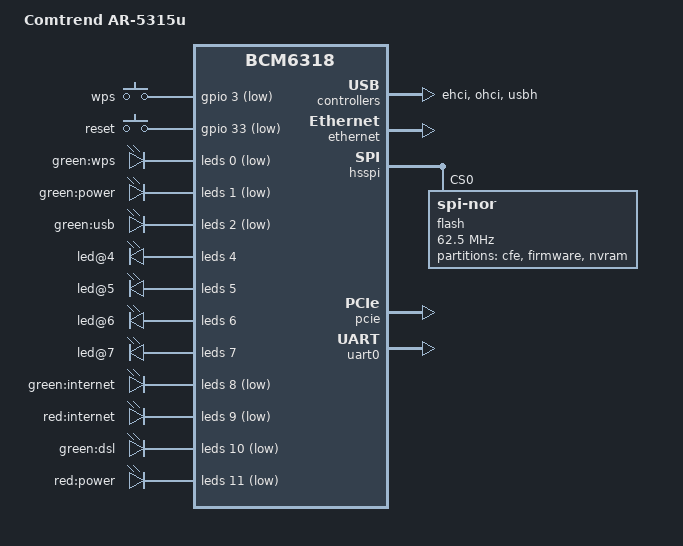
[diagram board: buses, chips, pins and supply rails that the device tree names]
// SPDX-License-Identifier: GPL-2.0-or-later

#include "bcm6318.dtsi"

/ {
	model = "Comtrend AR-5315u";
	compatible = "comtrend,ar-5315u", "brcm,bcm6318";

	aliases {
		led-boot = &led_power_green;
		led-failsafe = &led_power_red;
		led-running = &led_power_green;
		led-upgrade = &led_power_green;
	};

	keys {
		compatible = "gpio-keys-polled";
		poll-interval = <100>;

		wps {
			label = "wps";
			gpios = <&gpio 3 GPIO_ACTIVE_LOW>;
			linux,code = <KEY_WPS_BUTTON>;
			debounce-interval = <60>;
		};

		reset {
			label = "reset";
			gpios = <&gpio 33 GPIO_ACTIVE_LOW>;
			linux,code = <KEY_RESTART>;
			debounce-interval = <60>;
		};
	};

	bcm43217-sprom {
		compatible = "brcm,bcma-sprom";

		pci-bus = <1>;
		pci-dev = <0>;

		nvmem-cells = <&macaddr_cfe_6a0 1>;
		nvmem-cell-names = "mac-address";

		brcm,sprom = "brcm/bcm43217-sprom.bin";
		brcm,sprom-fixups = <6 0x1c00>,
				    <65 0x1255>,
				    <97 0xfe55>,
				    <98 0x171d>,
				    <99 0xfa42>,
				    <113 0xfeb7>,
				    <114 0x18cd>,
				    <115 0xfa4f>,
				    <162 0x6444>,
				    <170 0x6444>,
				    <172 0x6444>;
	};
};

&ehci {
	status = "okay";
};

&ethernet {
	status = "okay";

	nvmem-cells = <&macaddr_cfe_6a0 0>;
	nvmem-cell-names = "mac-address";
};

&hsspi {
	status = "okay";

	flash@0 {
		compatible = "jedec,spi-nor";
		spi-max-frequency = <62500000>;
		spi-tx-bus-width = <2>;
		spi-rx-bus-width = <2>;
		reg = <0>;

		#address-cells = <1>;
		#size-cells = <1>;

		partitions {
			compatible = "fixed-partitions";
			#address-cells = <1>;
			#size-cells = <1>;

			cfe: partition@0 {
				reg = <0x000000 0x010000>;
				label = "cfe";
				read-only;

				nvmem-layout {
					compatible = "fixed-layout";
					#address-cells = <1>;
					#size-cells = <1>;

					macaddr_cfe_6a0: macaddr@6a0 {
						compatible = "mac-base";
						reg = <0x6a0 0x6>;
						#nvmem-cell-cells = <1>;
					};
				};
			};

			partition@10000 {
				compatible = "brcm,bcm963xx-imagetag";
				reg = <0x010000 0xfe0000>;
				label = "firmware";
			};

			partition@ff0000 {
				reg = <0xff0000 0x010000>;
				label = "nvram";
			};
		};
	};
};

&leds {
	status = "okay";

	pinctrl-names = "default";
	pinctrl-0 = <&pinctrl_leds
		     &pinctrl_ephy0_act_led &pinctrl_ephy1_act_led
		     &pinctrl_ephy2_act_led &pinctrl_ephy3_act_led>;

	led@0 {
		reg = <0>;
		active-low;
		label = "green:wps";
	};

	led_power_green: led@1 {
		reg = <1>;
		active-low;
		label = "green:power";
	};

	led@2 {
		reg = <2>;
		active-low;
		label = "green:usb";
	};

	led@4 {
		/* EPHY0 Act */
		reg = <4>;
		brcm,hardware-controlled;
		brcm,link-signal-sources = <4>;
	};

	led@5 {
		/* EPHY1 Act */
		reg = <5>;
		brcm,hardware-controlled;
		brcm,link-signal-sources = <5>;
	};

	led@6 {
		/* EPHY2 Act */
		reg = <6>;
		brcm,hardware-controlled;
		brcm,link-signal-sources = <6>;
	};

	led@7 {
		/* EPHY3 Act */
		reg = <7>;
		brcm,hardware-controlled;
		brcm,link-signal-sources = <7>;
	};

	led@8 {
		reg = <8>;
		active-low;
		label = "green:internet";
	};

	led@9 {
		reg = <9>;
		active-low;
		label = "red:internet";
	};

	led@10 {
		reg = <10>;
		active-low;
		label = "green:dsl";
	};

	led_power_red: led@11 {
		reg = <11>;
		active-low;
		label = "red:power";
		panic-indicator;
	};
};

&ohci {
	status = "okay";
};

&pcie {
	status = "okay";
};

&pinctrl {
	pinctrl_leds: leds {
		function = "led";
		pins = "gpio0", "gpio1",
		       "gpio2", "gpio8",
		       "gpio9", "gpio10",
		       "gpio11";
	};
};

&switch0 {
	ports {
		port@0 {
			reg = <0>;
			label = "lan4";

			phy-handle = <&phy1>;
			phy-mode = "mii";
		};

		port@1 {
			reg = <1>;
			label = "lan3";

			phy-handle = <&phy2>;
			phy-mode = "mii";
		};

		port@2 {
			reg = <2>;
			label = "lan2";

			phy-handle = <&phy3>;
			phy-mode = "mii";
		};

		port@3 {
			reg = <3>;
			label = "lan1";

			phy-handle = <&phy4>;
			phy-mode = "mii";
		};
	};
};

&uart0 {
	status = "okay";
};

&usbh {
	status = "okay";
};
